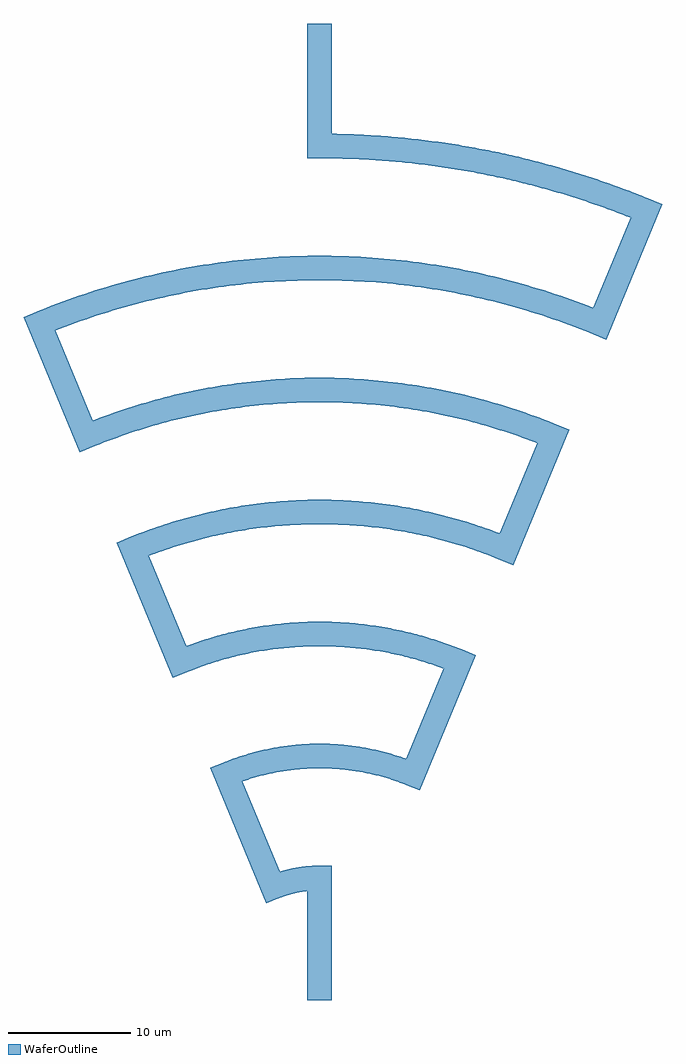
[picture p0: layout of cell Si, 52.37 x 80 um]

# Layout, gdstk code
import gdstk
lib = gdstk.Library(unit=1e-6, precision=1e-09)
WaferOutline = (1, 0)

c_si = lib.new_cell('Si')
c_si.add(gdstk.FlexPath([(0,0),(0,10),(-0.039,10),(-0.079,10),(-0.118,9.999),(-0.157,9.999),(-0.196,9.998),(-0.236,9.997),(-0.275,9.996),(-0.314,9.995),(-0.353,9.994),(-0.393,9.992),(-0.432,9.991),(-0.471,9.989),(-0.51,9.987),(-0.55,9.985),(-0.589,9.983),(-0.628,9.98),(-0.667,9.978),(-0.706,9.975),(-0.745,9.972),(-0.785,9.969),(-0.824,9.966),(-0.863,9.963),(-0.902,9.959),(-0.941,9.956),(-0.98,9.952),(-1.019,9.948),(-1.058,9.944),(-1.097,9.94),(-1.136,9.935),(-1.175,9.931),(-1.214,9.926),(-1.253,9.921),(-1.292,9.916),(-1.331,9.911),(-1.37,9.906),(-1.409,9.9),(-1.448,9.895),(-1.487,9.889),(-1.526,9.883),(-1.564,9.877),(-1.603,9.871),(-1.642,9.864),(-1.681,9.858),(-1.719,9.851),(-1.758,9.844),(-1.797,9.837),(-1.835,9.83),(-1.874,9.823),(-1.912,9.815),(-1.951,9.808),(-1.989,9.8),(-2.028,9.792),(-2.066,9.784),(-2.105,9.776),(-2.143,9.768),(-2.181,9.759),(-2.22,9.751),(-2.258,9.742),(-2.296,9.733),(-2.334,9.724),(-2.373,9.714),(-2.411,9.705),(-2.449,9.696),(-2.487,9.686),(-2.525,9.676),(-2.563,9.666),(-2.601,9.656),(-2.639,9.646),(-2.677,9.635),(-2.714,9.625),(-2.752,9.614),(-2.79,9.603),(-2.828,9.592),(-2.865,9.581),(-2.903,9.569),(-2.94,9.558),(-2.978,9.546),(-3.015,9.535),(-3.053,9.523),(-3.09,9.511),(-3.127,9.498),(-3.165,9.486),(-3.202,9.474),(-3.239,9.461),(-3.276,9.448),(-3.313,9.435),(-3.35,9.422),(-3.387,9.409),(-3.424,9.395),(-3.461,9.382),(-3.498,9.368),(-3.535,9.354),(-3.571,9.34),(-3.608,9.326),(-3.645,9.312),(-3.681,9.298),(-3.718,9.283),(-3.754,9.269),(-3.791,9.254),(-3.827,9.239),(-7.654,18.478),(-7.508,18.537),(-7.362,18.596),(-7.216,18.653),(-7.069,18.709),(-6.922,18.764),(-6.775,18.818),(-6.627,18.87),(-6.478,18.922),(-6.33,18.972),(-6.18,19.021),(-6.031,19.069),(-5.881,19.116),(-5.73,19.161),(-5.58,19.206),(-5.429,19.249),(-5.277,19.291),(-5.126,19.332),(-4.974,19.372),(-4.822,19.41),(-4.669,19.447),(-4.516,19.483),(-4.363,19.518),(-4.209,19.552),(-4.056,19.584),(-3.902,19.616),(-3.748,19.646),(-3.593,19.675),(-3.439,19.702),(-3.284,19.729),(-3.129,19.754),(-2.973,19.778),(-2.818,19.8),(-2.662,19.822),(-2.507,19.842),(-2.351,19.861),(-2.195,19.879),(-2.038,19.896),(-1.882,19.911),(-1.726,19.925),(-1.569,19.938),(-1.413,19.95),(-1.256,19.961),(-1.099,19.97),(-0.942,19.978),(-0.785,19.985),(-0.628,19.99),(-0.471,19.994),(-0.314,19.998),(-0.157,19.999),(0,20),(0.157,19.999),(0.314,19.998),(0.471,19.994),(0.628,19.99),(0.785,19.985),(0.942,19.978),(1.099,19.97),(1.256,19.961),(1.413,19.95),(1.569,19.938),(1.726,19.925),(1.882,19.911),(2.038,19.896),(2.195,19.879),(2.351,19.861),(2.507,19.842),(2.662,19.822),(2.818,19.8),(2.973,19.778),(3.129,19.754),(3.284,19.729),(3.439,19.702),(3.593,19.675),(3.748,19.646),(3.902,19.616),(4.056,19.584),(4.209,19.552),(4.363,19.518),(4.516,19.483),(4.669,19.447),(4.822,19.41),(4.974,19.372),(5.126,19.332),(5.277,19.291),(5.429,19.249),(5.58,19.206),(5.73,19.161),(5.881,19.116),(6.031,19.069),(6.18,19.021),(6.33,18.972),(6.478,18.922),(6.627,18.87),(6.775,18.818),(6.922,18.764),(7.069,18.709),(7.216,18.653),(7.362,18.596),(7.508,18.537),(7.654,18.478),(11.481,27.716),(11.262,27.806),(11.044,27.893),(10.824,27.979),(10.604,28.063),(10.384,28.146),(10.162,28.226),(9.94,28.305),(9.718,28.383),(9.494,28.458),(9.271,28.532),(9.046,28.604),(8.821,28.674),(8.596,28.742),(8.37,28.809),(8.143,28.874),(7.916,28.937),(7.689,28.998),(7.461,29.057),(7.232,29.115),(7.003,29.171),(6.774,29.225),(6.544,29.278),(6.314,29.328),(6.084,29.377),(5.853,29.424),(5.621,29.469),(5.39,29.512),(5.158,29.553),(4.926,29.593),(4.693,29.631),(4.46,29.667),(4.227,29.701),(3.994,29.733),(3.76,29.763),(3.526,29.792),(3.292,29.819),(3.058,29.844),(2.823,29.867),(2.589,29.888),(2.354,29.908),(2.119,29.925),(1.884,29.941),(1.649,29.955),(1.413,29.967),(1.178,29.977),(0.942,29.985),(0.707,29.992),(0.471,29.996),(0.236,29.999),(0,30),(-0.236,29.999),(-0.471,29.996),(-0.707,29.992),(-0.942,29.985),(-1.178,29.977),(-1.413,29.967),(-1.649,29.955),(-1.884,29.941),(-2.119,29.925),(-2.354,29.908),(-2.589,29.888),(-2.823,29.867),(-3.058,29.844),(-3.292,29.819),(-3.526,29.792),(-3.76,29.763),(-3.994,29.733),(-4.227,29.701),(-4.46,29.667),(-4.693,29.631),(-4.926,29.593),(-5.158,29.553),(-5.39,29.512),(-5.621,29.469),(-5.853,29.424),(-6.084,29.377),(-6.314,29.328),(-6.544,29.278),(-6.774,29.225),(-7.003,29.171),(-7.232,29.115),(-7.461,29.057),(-7.689,28.998),(-7.916,28.937),(-8.143,28.874),(-8.37,28.809),(-8.596,28.742),(-8.821,28.674),(-9.046,28.604),(-9.271,28.532),(-9.494,28.458),(-9.718,28.383),(-9.94,28.305),(-10.162,28.226),(-10.384,28.146),(-10.604,28.063),(-10.824,27.979),(-11.044,27.893),(-11.262,27.806),(-11.481,27.716),(-15.307,36.955),(-15.017,37.074),(-14.725,37.191),(-14.432,37.306),(-14.139,37.418),(-13.845,37.528),(-13.55,37.635),(-13.254,37.74),(-12.957,37.843),(-12.659,37.944),(-12.361,38.042),(-12.062,38.138),(-11.762,38.232),(-11.461,38.323),(-11.16,38.412),(-10.858,38.498),(-10.555,38.582),(-10.252,38.664),(-9.948,38.743),(-9.643,38.82),(-9.338,38.895),(-9.032,38.967),(-8.726,39.037),(-8.419,39.104),(-8.111,39.169),(-7.804,39.231),(-7.495,39.291),(-7.186,39.349),(-6.877,39.404),(-6.567,39.457),(-6.257,39.508),(-5.947,39.555),(-5.636,39.601),(-5.325,39.644),(-5.013,39.685),(-4.701,39.723),(-4.389,39.758),(-4.077,39.792),(-3.764,39.822),(-3.451,39.851),(-3.138,39.877),(-2.825,39.9),(-2.512,39.921),(-2.198,39.94),(-1.884,39.956),(-1.57,39.969),(-1.256,39.98),(-0.942,39.989),(-0.628,39.995),(-0.314,39.999),(0,40),(0.314,39.999),(0.628,39.995),(0.942,39.989),(1.256,39.98),(1.57,39.969),(1.884,39.956),(2.198,39.94),(2.512,39.921),(2.825,39.9),(3.138,39.877),(3.451,39.851),(3.764,39.822),(4.077,39.792),(4.389,39.758),(4.701,39.723),(5.013,39.685),(5.325,39.644),(5.636,39.601),(5.947,39.555),(6.257,39.508),(6.567,39.457),(6.877,39.404),(7.186,39.349),(7.495,39.291),(7.804,39.231),(8.111,39.169),(8.419,39.104),(8.726,39.037),(9.032,38.967),(9.338,38.895),(9.643,38.82),(9.948,38.743),(10.252,38.664),(10.555,38.582),(10.858,38.498),(11.16,38.412),(11.461,38.323),(11.762,38.232),(12.062,38.138),(12.361,38.042),(12.659,37.944),(12.957,37.843),(13.254,37.74),(13.55,37.635),(13.845,37.528),(14.139,37.418),(14.432,37.306),(14.725,37.191),(15.017,37.074),(15.307,36.955),(19.134,46.194),(18.771,46.343),(18.406,46.489),(18.041,46.632),(17.674,46.772),(17.306,46.91),(16.937,47.044),(16.567,47.176),(16.196,47.304),(15.824,47.43),(15.451,47.553),(15.077,47.673),(14.702,47.79),(14.326,47.904),(13.95,48.015),(13.572,48.123),(13.194,48.228),(12.814,48.33),(12.434,48.429),(12.054,48.525),(11.672,48.618),(11.29,48.709),(10.907,48.796),(10.524,48.88),(10.139,48.961),(9.755,49.039),(9.369,49.114),(8.983,49.186),(8.596,49.255),(8.209,49.321),(7.822,49.384),(7.434,49.444),(7.045,49.501),(6.656,49.555),(6.267,49.606),(5.877,49.653),(5.487,49.698),(5.096,49.74),(4.705,49.778),(4.314,49.814),(3.923,49.846),(3.531,49.875),(3.14,49.901),(2.748,49.924),(2.355,49.944),(1.963,49.961),(1.571,49.975),(1.178,49.986),(0.785,49.994),(0.393,49.998),(0,50),(-0.393,49.998),(-0.785,49.994),(-1.178,49.986),(-1.571,49.975),(-1.963,49.961),(-2.355,49.944),(-2.748,49.924),(-3.14,49.901),(-3.531,49.875),(-3.923,49.846),(-4.314,49.814),(-4.705,49.778),(-5.096,49.74),(-5.487,49.698),(-5.877,49.653),(-6.267,49.606),(-6.656,49.555),(-7.045,49.501),(-7.434,49.444),(-7.822,49.384),(-8.209,49.321),(-8.596,49.255),(-8.983,49.186),(-9.369,49.114),(-9.755,49.039),(-10.139,48.961),(-10.524,48.88),(-10.907,48.796),(-11.29,48.709),(-11.672,48.618),(-12.054,48.525),(-12.434,48.429),(-12.814,48.33),(-13.194,48.228),(-13.572,48.123),(-13.95,48.015),(-14.326,47.904),(-14.702,47.79),(-15.077,47.673),(-15.451,47.553),(-15.824,47.43),(-16.196,47.304),(-16.567,47.176),(-16.937,47.044),(-17.306,46.91),(-17.674,46.772),(-18.041,46.632),(-18.406,46.489),(-18.771,46.343),(-19.134,46.194),(-22.961,55.433),(-22.525,55.611),(-22.087,55.787),(-21.649,55.958),(-21.208,56.127),(-20.767,56.291),(-20.324,56.453),(-19.88,56.611),(-19.435,56.765),(-18.989,56.916),(-18.541,57.063),(-18.092,57.207),(-17.642,57.348),(-17.191,57.484),(-16.739,57.618),(-16.286,57.747),(-15.832,57.873),(-15.377,57.996),(-14.921,58.115),(-14.465,58.23),(-14.007,58.342),(-13.548,58.45),(-13.089,58.555),(-12.628,58.656),(-12.167,58.753),(-11.705,58.847),(-11.243,58.937),(-10.78,59.024),(-10.316,59.107),(-9.851,59.186),(-9.386,59.261),(-8.92,59.333),(-8.454,59.401),(-7.987,59.466),(-7.52,59.527),(-7.052,59.584),(-6.584,59.638),(-6.115,59.688),(-5.646,59.734),(-5.177,59.776),(-4.708,59.815),(-4.238,59.85),(-3.767,59.882),(-3.297,59.909),(-2.826,59.933),(-2.356,59.954),(-1.885,59.97),(-1.414,59.983),(-0.942,59.993),(-0.471,59.998),(0,60),(0.471,59.998),(0.942,59.993),(1.414,59.983),(1.885,59.97),(2.356,59.954),(2.826,59.933),(3.297,59.909),(3.767,59.882),(4.238,59.85),(4.708,59.815),(5.177,59.776),(5.646,59.734),(6.115,59.688),(6.584,59.638),(7.052,59.584),(7.52,59.527),(7.987,59.466),(8.454,59.401),(8.92,59.333),(9.386,59.261),(9.851,59.186),(10.316,59.107),(10.78,59.024),(11.243,58.937),(11.705,58.847),(12.167,58.753),(12.628,58.656),(13.089,58.555),(13.548,58.45),(14.007,58.342),(14.465,58.23),(14.921,58.115),(15.377,57.996),(15.832,57.873),(16.286,57.747),(16.739,57.618),(17.191,57.484),(17.642,57.348),(18.092,57.207),(18.541,57.063),(18.989,56.916),(19.435,56.765),(19.88,56.611),(20.324,56.453),(20.767,56.291),(21.208,56.127),(21.649,55.958),(22.087,55.787),(22.525,55.611),(22.961,55.433),(26.788,64.672),(26.534,64.776),(26.279,64.88),(26.024,64.983),(25.769,65.084),(25.513,65.185),(25.257,65.285),(25,65.383),(24.743,65.481),(24.486,65.578),(24.228,65.673),(23.97,65.768),(23.712,65.862),(23.453,65.954),(23.194,66.046),(22.934,66.136),(22.674,66.226),(22.414,66.315),(22.153,66.402),(21.892,66.488),(21.631,66.574),(21.37,66.658),(21.108,66.742),(20.845,66.824),(20.583,66.906),(20.32,66.986),(20.057,67.065),(19.793,67.143),(19.529,67.221),(19.265,67.297),(19.001,67.372),(18.736,67.446),(18.471,67.519),(18.206,67.591),(17.94,67.662),(17.674,67.732),(17.408,67.801),(17.142,67.869),(16.875,67.935),(16.608,68.001),(16.341,68.066),(16.074,68.13),(15.806,68.192),(15.538,68.254),(15.27,68.314),(15.002,68.374),(14.733,68.432),(14.464,68.489),(14.195,68.546),(13.926,68.601),(13.656,68.655),(13.387,68.708),(13.117,68.76),(12.847,68.811),(12.576,68.861),(12.306,68.91),(12.035,68.958),(11.764,69.004),(11.493,69.05),(11.222,69.095),(10.95,69.138),(10.679,69.181),(10.407,69.222),(10.135,69.262),(9.863,69.302),(9.591,69.34),(9.318,69.377),(9.046,69.413),(8.773,69.448),(8.501,69.482),(8.228,69.515),(7.955,69.547),(7.681,69.577),(7.408,69.607),(7.135,69.635),(6.861,69.663),(6.588,69.689),(6.314,69.715),(6.04,69.739),(5.766,69.762),(5.492,69.784),(5.218,69.805),(4.944,69.825),(4.67,69.844),(4.395,69.862),(4.121,69.879),(3.847,69.894),(3.572,69.909),(3.297,69.922),(3.023,69.935),(2.748,69.946),(2.473,69.956),(2.199,69.965),(1.924,69.974),(1.649,69.981),(1.374,69.987),(1.1,69.991),(0.825,69.995),(0.55,69.998),(0.275,69.999),(0,70),(0,80)], 2, ends="flush", simple_path=True, layer=1, datatype=0))  # WaferOutline

lib.write_gds('Si.gds')
